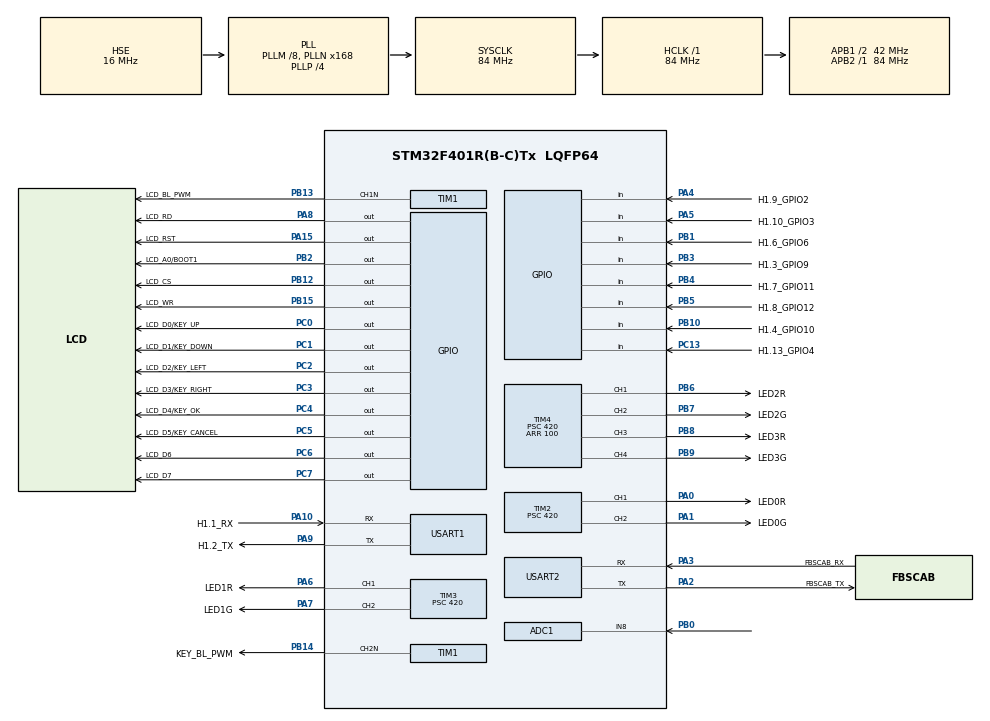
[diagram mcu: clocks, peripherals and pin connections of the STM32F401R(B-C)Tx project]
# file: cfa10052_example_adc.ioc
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ADC1.Channel-0\#ChannelRegularConversion=ADC_CHANNEL_8
ADC1.ContinuousConvMode=ENABLE
ADC1.NbrOfConversionFlag=1
ADC1.Rank-0\#ChannelRegularConversion=1
ADC1.SamplingTime-0\#ChannelRegularConversion=ADC_SAMPLETIME_3CYCLES
ADC1.master=1
Mcu.Family=STM32F4
Mcu.Name=STM32F401R(B-C)Tx
Mcu.Package=LQFP64
NVIC.ADC_IRQn=true\:0\:0\:false\:false\:true\:true\:true
NVIC.PriorityGroup=NVIC_PRIORITYGROUP_4
NVIC.USART1_IRQn=true\:0\:0\:false\:false\:true\:true\:true
PA0-WKUP.GPIO_Label=LED0R
PA0-WKUP.GPIO_Speed=GPIO_SPEED_FREQ_VERY_HIGH
PA0-WKUP.Signal=S_TIM2_CH1_ETR
PA1.GPIO_Label=LED0G
PA1.GPIO_Speed=GPIO_SPEED_FREQ_VERY_HIGH
PA1.Signal=S_TIM2_CH2
PA10.GPIO_Label=H1.1_RX
PA10.Mode=Asynchronous
PA10.Signal=USART1_RX
PA11.GPIO_Label=USB_DM
PA11.Signal=USB_OTG_FS_DM
PA12.GPIO_Label=USB_DP
PA12.Signal=USB_OTG_FS_DP
PA13.GPIO_Label=H1.11_SWDIO_GPIO0
PA13.Mode=Serial_Wire
PA13.Signal=SYS_JTMS-SWDIO
PA14.GPIO_Label=H1.12_SWCLK_GPIO1
PA14.Mode=Serial_Wire
PA14.Signal=SYS_JTCK-SWCLK
PA15.GPIO_Label=LCD_RST
PA15.GPIO_Speed=GPIO_SPEED_FREQ_VERY_HIGH
PA15.Signal=GPIO_Output
PA2.GPIO_Label=FBSCAB_TX
PA2.Mode=Asynchronous
PA2.Signal=USART2_TX
PA3.GPIO_Label=FBSCAB_RX
PA3.Mode=Asynchronous
PA3.Signal=USART2_RX
PA4.GPIO_Label=H1.9_GPIO2
PA4.Signal=GPIO_Input
PA5.GPIO_Label=H1.10_GPIO3
PA5.Signal=GPIO_Input
PA6.GPIO_Label=LED1R
PA6.GPIO_Speed=GPIO_SPEED_FREQ_VERY_HIGH
PA6.Signal=S_TIM3_CH1
PA7.GPIO_Label=LED1G
PA7.GPIO_Speed=GPIO_SPEED_FREQ_VERY_HIGH
PA7.Signal=S_TIM3_CH2
PA8.GPIO_Label=LCD_RD
PA8.GPIO_Speed=GPIO_SPEED_FREQ_VERY_HIGH
PA8.Signal=GPIO_Output
PA9.GPIO_Label=H1.2_TX
PA9.Mode=Asynchronous
PA9.Signal=USART1_TX
PB0.Signal=ADCx_IN8
PB1.GPIO_Label=H1.6_GPIO6
PB1.Signal=GPIO_Input
PB10.GPIO_Label=H1.4_GPIO10
PB10.Signal=GPIO_Input
PB12.GPIO_Label=LCD_CS
PB12.GPIO_Speed=GPIO_SPEED_FREQ_VERY_HIGH
PB12.Signal=GPIO_Output
PB13.GPIO_Label=LCD_BL_PWM
PB13.GPIO_Speed=GPIO_SPEED_FREQ_VERY_HIGH
PB13.Mode=PWM Generation1 CH1N
PB13.Signal=TIM1_CH1N
PB14.GPIO_Label=KEY_BL_PWM
PB14.GPIO_Speed=GPIO_SPEED_FREQ_VERY_HIGH
PB14.Mode=PWM Generation2 CH2N
PB14.Signal=TIM1_CH2N
PB15.GPIO_Label=LCD_WR
PB15.GPIO_Speed=GPIO_SPEED_FREQ_VERY_HIGH
PB15.Signal=GPIO_Output
PB2.GPIO_Label=LCD_A0/BOOT1
PB2.GPIO_Speed=GPIO_SPEED_FREQ_VERY_HIGH
PB2.Signal=GPIO_Output
PB3.GPIO_Label=H1.3_GPIO9
PB3.Signal=GPIO_Input
PB4.GPIO_Label=H1.7_GPIO11
PB4.Signal=GPIO_Input
PB5.GPIO_Label=H1.8_GPIO12
PB5.Signal=GPIO_Input
PB6.GPIO_Label=LED2R
PB6.GPIO_Speed=GPIO_SPEED_FREQ_VERY_HIGH
PB6.Signal=S_TIM4_CH1
PB7.GPIO_Label=LED2G
PB7.GPIO_Speed=GPIO_SPEED_FREQ_VERY_HIGH
PB7.Signal=S_TIM4_CH2
PB8.GPIO_Label=LED3R
PB8.GPIO_Speed=GPIO_SPEED_FREQ_VERY_HIGH
PB8.Signal=S_TIM4_CH3
PB9.GPIO_Label=LED3G
PB9.GPIO_Speed=GPIO_SPEED_FREQ_VERY_HIGH
PB9.Signal=S_TIM4_CH4
PC0.GPIO_Label=LCD_D0/KEY_UP
PC0.GPIO_Speed=GPIO_SPEED_FREQ_VERY_HIGH
PC0.Signal=GPIO_Output
PC1.GPIO_Label=LCD_D1/KEY_DOWN
PC1.GPIO_Speed=GPIO_SPEED_FREQ_VERY_HIGH
PC1.Signal=GPIO_Output
PC10.GPIO_Label=MICROSD_D2
PC10.Signal=SDIO_D2
PC11.GPIO_Label=MICROSD_D3
PC11.Signal=SDIO_D3
PC12.GPIO_Label=MICROSD_CK
PC12.Signal=SDIO_CK
PC13-ANTI_TAMP.GPIO_Label=H1.13_GPIO4
PC13-ANTI_TAMP.Signal=GPIO_Input
PC2.GPIO_Label=LCD_D2/KEY_LEFT
PC2.GPIO_Speed=GPIO_SPEED_FREQ_VERY_HIGH
PC2.Signal=GPIO_Output
PC3.GPIO_Label=LCD_D3/KEY_RIGHT
PC3.GPIO_Speed=GPIO_SPEED_FREQ_VERY_HIGH
PC3.Signal=GPIO_Output
PC4.GPIO_Label=LCD_D4/KEY_OK
PC4.GPIO_Speed=GPIO_SPEED_FREQ_VERY_HIGH
PC4.Signal=GPIO_Output
PC5.GPIO_Label=LCD_D5/KEY_CANCEL
PC5.GPIO_Speed=GPIO_SPEED_FREQ_VERY_HIGH
PC5.Signal=GPIO_Output
PC6.GPIO_Label=LCD_D6
PC6.GPIO_Speed=GPIO_SPEED_FREQ_VERY_HIGH
PC6.Signal=GPIO_Output
PC7.GPIO_Label=LCD_D7
PC7.GPIO_Speed=GPIO_SPEED_FREQ_VERY_HIGH
PC7.Signal=GPIO_Output
PC8.GPIO_Label=MICROSD_D0
PC8.Signal=SDIO_D0
PC9.GPIO_Label=MICROSD_D1
PC9.Signal=SDIO_D1
PD2.GPIO_Label=MICROSD_CMD
PD2.Signal=SDIO_CMD
PH0\ -\ OSC_IN.GPIO_Label=OSC_IN
PH0\ -\ OSC_IN.Mode=HSE-External-Oscillator
PH0\ -\ OSC_IN.Signal=RCC_OSC_IN
PH1\ -\ OSC_OUT.GPIO_Label=OSC_OUT
PH1\ -\ OSC_OUT.Mode=HSE-External-Oscillator
PH1\ -\ OSC_OUT.Signal=RCC_OSC_OUT
ProjectManager.HeapSize=0x200
ProjectManager.StackSize=0x400
ProjectManager.TargetToolchain=STM32CubeIDE
RCC.48MHZClocksFreq_Value=48000000
RCC.AHBFreq_Value=84000000
RCC.APB1CLKDivider=RCC_HCLK_DIV2
RCC.APB1Freq_Value=42000000
RCC.APB1TimFreq_Value=84000000
RCC.APB2Freq_Value=84000000
RCC.APB2TimFreq_Value=84000000
RCC.CortexFreq_Value=84000000
RCC.HCLKFreq_Value=84000000
RCC.HSE_VALUE=16000000
RCC.HSI_VALUE=16000000
RCC.LSE_VALUE=32768
RCC.PLLM=8
RCC.PLLN=168
RCC.PLLP=RCC_PLLP_DIV4
RCC.PLLQ=7
RCC.PLLSourceVirtual=RCC_PLLSOURCE_HSE
RCC.SYSCLKFreq_VALUE=84000000
RCC.SYSCLKSource=RCC_SYSCLKSOURCE_PLLCLK
RCC.VCOOutputFreq_Value=336000000
SH.ADCx_IN8.0=ADC1_IN8,IN8
SH.S_TIM2_CH1_ETR.0=TIM2_CH1,PWM Generation1 CH1
SH.S_TIM2_CH2.0=TIM2_CH2,PWM Generation2 CH2
SH.S_TIM3_CH1.0=TIM3_CH1,PWM Generation1 CH1
SH.S_TIM3_CH2.0=TIM3_CH2,PWM Generation2 CH2
SH.S_TIM4_CH1.0=TIM4_CH1,PWM Generation1 CH1
SH.S_TIM4_CH2.0=TIM4_CH2,PWM Generation2 CH2
SH.S_TIM4_CH3.0=TIM4_CH3,PWM Generation3 CH3
SH.S_TIM4_CH4.0=TIM4_CH4,PWM Generation4 CH4
TIM1.Channel-PWM\ Generation1\ CH1N=TIM_CHANNEL_1
TIM1.Channel-PWM\ Generation2\ CH2N=TIM_CHANNEL_2
TIM1.CounterMode=TIM_COUNTERMODE_DOWN
TIM1.Period=100
TIM1.Prescaler=9
TIM2.Channel-PWM\ Generation1\ CH1=TIM_CHANNEL_1
TIM2.Channel-PWM\ Generation2\ CH2=TIM_CHANNEL_2
TIM2.Period=100
TIM2.Prescaler=420
TIM3.Channel-PWM\ Generation1\ CH1=TIM_CHANNEL_1
TIM3.Channel-PWM\ Generation2\ CH2=TIM_CHANNEL_2
TIM3.Period=100
TIM3.Prescaler=420
TIM4.Channel-PWM\ Generation1\ CH1=TIM_CHANNEL_1
TIM4.Channel-PWM\ Generation2\ CH2=TIM_CHANNEL_2
TIM4.Channel-PWM\ Generation3\ CH3=TIM_CHANNEL_3
TIM4.Channel-PWM\ Generation4\ CH4=TIM_CHANNEL_4
TIM4.Period=100
TIM4.Prescaler=420
USART1.VirtualMode=VM_ASYNC
USART2.VirtualMode=VM_ASYNC
VP_TIM1_VS_ClockSourceINT.Mode=Internal
VP_TIM2_VS_ClockSourceINT.Mode=Internal
VP_TIM3_VS_ClockSourceINT.Mode=Internal
VP_TIM4_VS_ClockSourceINT.Mode=Internal
board=custom

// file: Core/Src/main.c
/* USER CODE BEGIN Header */
/**
 ******************************************************************************
 * @file           : main.c
 * @brief          : Main program body
 ******************************************************************************
 *
 * Crystalfontz CFA10052 (hardware v1.1 onwards) example/base firmware.
 *
 * This example displays a moving histogram graph of voltages acquired from
 * one of the two available ADC inputs on the CFA10052.
 *
 * The ADC input is Header 1 - Pin 5.
 * Due to the resistive divider on the CFA10052 ADC input pin, maximum input
 * voltage is 6.6V.
 *
 * The ADC is sampled at 21Khz, and averaged out over the length of one sample
 * period (one horizontal pixel on the LCD).
 *
 * Up/Down keys change the length of the sample period.
 * Left/Right keys move the voltage measurement cursor.
 * The X key starts/stops sampling & graph scrolling.
 *
 * For more information about this CFA10052 example custom firmware package,
 * please see the README.md file.
 *
 ******************************************************************************
 *
 * Crystalfontz supplied source-code is provided using The Unlicense.
 * A license with no conditions whatsoever which dedicates works to the public
 * domain. Unlicensed works, modifications, and larger works may be distributed
 * under different terms and without source code.
 * See the UNLICENCE file, or https://unlicense.org/ for details.
 *
 * STM32Cube created source-code and STMicroelectronics libraries are Copyright(c)
 * 2019 STMicroelectronics. All rights reserved.
 * This software component is licensed by ST under BSD 3-Clause license,
 * the "License"; You may not use this file except in compliance with the
 * License.
 * You may obtain a copy of the License at: opensource.org/licenses/BSD-3-Clause
 *
 ******************************************************************************
 */
/* USER CODE END Header */
#include "main.h"
#include "adc.h"
#include "tim.h"
#include "usart.h"
#include "gpio.h"

/* USER CODE BEGIN Includes */
#include "keypad.h"
#include "leds.h"
#include "lcd_core.h"
#include "tprintf.h"
#include "math.h"
/* USER CODE END Includes */

/* USER CODE BEGIN PD */

//LCD Controller/Panel type must be set here!
// CFA10052 hardware version v1.0 to v1.5 = LCDCORE_ST7529
// CFA10052 hardware version v1.6 to v1.9 = LCDCORE_UC1611S
// CFA10052 hardware version v1.9+ = LCDCORE_UC1611S_INV
//#define LCD_TYPE		LCDCORE_ST7529
//#define LCD_TYPE		LCDCORE_UC1611S
//#define LCD_TYPE		LCDCORE_UC1611S_INV

#ifndef LCD_TYPE
# error LCD_TYPE NOT SET!!!
#endif

/* USER CODE END PD */

/* USER CODE BEGIN PM */
#define SAMPLE_TIME			(250) /*mS*/
#define SAMPLE_TIME_MIN		(10)
#define SAMPLE_TIME_MAX		(60000)
#define SAMPLE_RECORDS		(LCD_WIDTH)
#define KEY_REPEAT_TIMER	(100) /*mS*/
/* USER CODE END PM */

/* USER CODE BEGIN PV */
uint8_t LCD_FrameBuffer[LCD_WIDTH * LCD_HEIGHT];
volatile uint64_t ADCDataSum = 0;
volatile uint32_t ADCDataCount = 0;
/* USER CODE END PV */

void SystemClock_Config(void);

/* USER CODE BEGIN 0 */
void User_USART1_IRQHandler(void)
{
	//incoming data on USART1 (CFA10052 H1, pins 1 & 2)
	//called by USART1_IRQHandler() in stm32f4xx_it.c
	//echo data back to USART1
	if (LL_USART_IsActiveFlag_RXNE(USART1))
	{
		uint8_t Data = LL_USART_ReceiveData8(USART1);
		LL_USART_TransmitData8(USART1, Data);
		LL_USART_ClearFlag_RXNE(USART1);
	}
}

void HAL_ADC_ConvCpltCallback(ADC_HandleTypeDef *hadc)
{
	//ADC conversion complete callback (from ADC_IRQHandler() in stm32f4xx_it.c)
	//Runs at PCLK2/8/480 = 84000000/8/480 = 21875 KHz
	//ADC values are summed to create an average in the main loop
	ADCDataSum += HAL_ADC_GetValue(&hadc1);
	ADCDataCount++;
}
/* USER CODE END 0 */

int main(void)
{

	/* MCU Configuration--------------------------------------------------------*/

	/* Reset of all peripherals, Initializes the Flash interface and the Systick. */
	HAL_Init();

	/* Configure the system clock */
	SystemClock_Config();

	/* Initialize all configured peripherals */
	MX_GPIO_Init();
	MX_TIM1_Init();
	MX_TIM2_Init();
	MX_TIM3_Init();
	MX_TIM4_Init();
	MX_USART1_UART_Init();
	MX_USART2_UART_Init();
	MX_ADC1_Init();
	/* USER CODE BEGIN 2 */

	//CFA10052 specific init's
	HAL_ResumeTick();
	HAL_Delay(1);

	LEDs_Init();
	Keypad_Init();
	LCDCore_Init(LCD_TYPE);
	LEDs_LCDBacklightSet(50);
	LEDs_KeypadBacklightSet(50);

	//Start the ADC
	HAL_NVIC_EnableIRQ(ADC_IRQn);
	HAL_ADC_Start(&hadc1);
	HAL_ADC_Start_IT(&hadc1);

	/* USER CODE END 2 */

	/* Infinite loop */
	/* USER CODE BEGIN WHILE */

	//averaged ADC sample storage
	//let's make use of that hardware float processor
	double ADCSamples[SAMPLE_RECORDS];
	uint32_t ADCSamplePos;

	//local vars
	uint32_t i, j;
	char TempS[40];
	uint32_t SampleLength, SampleLengthPrev;
	uint32_t SampleTimer, KeyTimer;
	uint32_t XCursorPos;
	double XCursorValue;
	uint8_t DoLCDUpdate;

	//init local vars
	for (i = 0; i < SAMPLE_RECORDS; i++)
		ADCSamples[i] = -1.0f;
	ADCSamplePos = 0;
	DoLCDUpdate = 1;
	SampleLength = SAMPLE_TIME;
	XCursorPos = LCD_WIDTH / 2;
	XCursorValue = -1.0f;

	//init timers
	TIMER_SET_NEXT(SampleTimer, SampleLength)
	TIMER_SET_NEXT(KeyTimer, KEY_REPEAT_TIMER)

	//main loop
	while (1)
	{
		//keypad check
		Keypad_CheckButtons();

		//handle button presses / holds
		if (Keypad_ButtonState[KEY_RIGHT] & BUTTON_RELEASED)
		{
			//right key pressed, move cursor right
			XCursorPos += (XCursorPos >= LCD_WIDTH - 1) ? 0 : 1;
			DoLCDUpdate = 1;
		}
		if (Keypad_ButtonState[KEY_LEFT] & BUTTON_RELEASED)
		{
			//left key pressed, move cursor left
			XCursorPos -= (XCursorPos == 0) ? 0 : 1;
			DoLCDUpdate = 1;
		}
		if (Keypad_ButtonState[KEY_UP] & BUTTON_RELEASED)
		{
			//up key pressed, increase sample period
			SampleLength += (SampleLength > SAMPLE_TIME_MAX - 10) ? 0 : 10;
			DoLCDUpdate = 1;
		}
		if (Keypad_ButtonState[KEY_DOWN] & BUTTON_RELEASED)
		{
			//down key pressed, decrease sample period
			SampleLength -= (SampleLength < SAMPLE_TIME_MIN + 10) ? 0 : 10;
			DoLCDUpdate = 1;
		}
		if (Keypad_ButtonState[KEY_CANCEL] & BUTTON_RELEASED)
		{
			//X key pressed, toggle pause
			if (SampleLength == 0)
				SampleLength = SampleLengthPrev;
			else
			{
				SampleLengthPrev = SampleLength;
				SampleLength = 0;
			}
			DoLCDUpdate = 1;
		}

		//key hold repeat timer
		IF_TIMER_EXPIRED(KeyTimer)
		{
			//reset timer
			TIMER_SET_NEXT(KeyTimer, KEY_REPEAT_TIMER)

			//handle key holds
			if (Keypad_ButtonState[KEY_RIGHT] & BUTTON_HELD)
			{
				//right key held, move cursor right
				XCursorPos += (XCursorPos >= LCD_WIDTH - 1) ? 0 : 1;
				DoLCDUpdate = 1;
			}
			if (Keypad_ButtonState[KEY_LEFT] & BUTTON_HELD)
			{
				//left key held, move cursor left
				XCursorPos -= (XCursorPos == 0) ? 0 : 1;
				DoLCDUpdate = 1;
			}
			if (Keypad_ButtonState[KEY_UP] & BUTTON_HELD)
			{
				//up key held, increase sample period
				SampleLength += (SampleLength > SAMPLE_TIME_MAX - 10) ? 0 : 10;
				DoLCDUpdate = 1;
			}
			if (Keypad_ButtonState[KEY_DOWN] & BUTTON_HELD)
			{
				//down key held, decrease sample period
				SampleLength -= (SampleLength < SAMPLE_TIME_MIN + 10) ? 0 : 10;
				DoLCDUpdate = 1;
			}
		}

		//take averaged ADC value if not paused, and sample timer expired
		if (SampleLength != 0)
		{
			IF_TIMER_EXPIRED(SampleTimer)
			{
				//set next sample timer expiry
				TIMER_SET_NEXT(SampleTimer, SampleLength)

				//stop ADC interrupts
				HAL_NVIC_DisableIRQ(ADC_IRQn);
				//calculate ADC average value over period
				double ADCAvg = ADCDataSum / (double) ADCDataCount;
				//reset ADC sum vars
				ADCDataCount = 0;
				ADCDataSum = 0;
				//re-enable ADC interrupts
				HAL_NVIC_EnableIRQ(ADC_IRQn);
				//store the averaged ADC value
				ADCSamples[ADCSamplePos % SAMPLE_RECORDS] = ADCAvg;
				ADCSamplePos++;
				//do lcd update
				DoLCDUpdate = 1;
			}
		}

		//do LCD update if needed
		if (DoLCDUpdate == 1)
		{
			//LCD update needed

			//blank the lcd frame buffer
			memset(LCD_FrameBuffer, 0x00, LCD_WIDTH * LCD_HEIGHT);

			//display moving graph
			//LCD is 68 pixels high, ADC has max value of 4096 (=3.3V*2 in)
			for (i = 0; i < LCD_WIDTH; i++)
			{
				//draw right to left
				uint32_t XPos = (LCD_WIDTH - 1 - i);
				//get ADC value
				double val = -1.0f;
				if (i < ADCSamplePos - 1)
					val = ADCSamples[(ADCSamplePos - 1 - i) % SAMPLE_RECORDS];
				//check if we are a X cursor point, if so keep the value
				if (XPos == XCursorPos)
					XCursorValue = val;
				//if ADC value is valid, draw it
				if (val > -0.0f)
				{
					//calc Y pixel position
					uint8_t YPos = round((val / 4096.0f) * LCD_HEIGHT);
					//flip it the right way up
					YPos = (LCD_HEIGHT - 1) - YPos;
					//check limits
					if (YPos > LCD_HEIGHT - 1)
						YPos = LCD_HEIGHT - 1;
					//draw faded bar to the point
					for (j = YPos; j < LCD_HEIGHT; j++)
						LCD_FrameBuffer[XPos + (j * LCD_WIDTH)] = 0x70;
					//draw solid point, right to left
					LCD_FrameBuffer[XPos + (YPos * LCD_WIDTH)] = 0xff;
				}
			}

			//draw x cursor (dotted vertical line)
			for (i = 0; i < LCD_HEIGHT; i++)
				LCD_FrameBuffer[XCursorPos + (i * LCD_WIDTH)] = (i % 2 ? 0xff : 0x00);

			//draw x cursor value text if valid in volts on ADC pin
			if (XCursorValue > -0.0f)
			{
				//ADC-Volts = (ADCValue / MaxADCCount) * ADCMaxV * ResistorDivisor
				double Volts = (XCursorValue / 4096.0f) * 3.3f * 2.0f;
				tsprintf(TempS, "CVal:%fV", Volts);
			}
			else
				tsprintf(TempS, "CVal:N/A");
			Font_WriteString(LCD_FrameBuffer, 2, LCD_HEIGHT - 30, TempS);

			//x cursor position text
			double XCursorPosS = (LCD_WIDTH - 1 - XCursorPos) * SampleLength / 1000.0f;
			tsprintf(TempS, "CPos:%fS", XCursorPosS);
			Font_WriteString(LCD_FrameBuffer, 2, LCD_HEIGHT - 20, TempS);

			//sample time text
			if (SampleLength == 0)
				//paused
				tsprintf(TempS, "STime:PAUSE");
			else
				tsprintf(TempS, "STime:%fS", (double) SampleLength / 1000.0f);
			Font_WriteString(LCD_FrameBuffer, 2, LCD_HEIGHT - 10, TempS);

			//send framebuffer to the LCD controller
			LCDCore_BufferToLCD(LCD_FrameBuffer);

			//done
			DoLCDUpdate = 0;
		}

		/* USER CODE END WHILE */

	}
}

void SystemClock_Config(void)
{
	RCC_OscInitTypeDef RCC_OscInitStruct =
	{ 0 };
	RCC_ClkInitTypeDef RCC_ClkInitStruct =
	{ 0 };

	/** Configure the main internal regulator output voltage
	 */
	__HAL_RCC_PWR_CLK_ENABLE();
	__HAL_PWR_VOLTAGESCALING_CONFIG(PWR_REGULATOR_VOLTAGE_SCALE2);
	/** Initializes the RCC Oscillators according to the specified parameters
	 * in the RCC_OscInitTypeDef structure.
	 */
	RCC_OscInitStruct.OscillatorType = RCC_OSCILLATORTYPE_HSE;
	RCC_OscInitStruct.HSEState = RCC_HSE_ON;
	RCC_OscInitStruct.PLL.PLLState = RCC_PLL_ON;
	RCC_OscInitStruct.PLL.PLLSource = RCC_PLLSOURCE_HSE;
	RCC_OscInitStruct.PLL.PLLM = 8;
	RCC_OscInitStruct.PLL.PLLN = 168;
	RCC_OscInitStruct.PLL.PLLP = RCC_PLLP_DIV4;
	RCC_OscInitStruct.PLL.PLLQ = 7;
	if (HAL_RCC_OscConfig(&RCC_OscInitStruct) != HAL_OK)
	{
		Error_Handler();
	}
	/** Initializes the CPU, AHB and APB buses clocks
	 */
	RCC_ClkInitStruct.ClockType = RCC_CLOCKTYPE_HCLK | RCC_CLOCKTYPE_SYSCLK | RCC_CLOCKTYPE_PCLK1 | RCC_CLOCKTYPE_PCLK2;
	RCC_ClkInitStruct.SYSCLKSource = RCC_SYSCLKSOURCE_PLLCLK;
	RCC_ClkInitStruct.AHBCLKDivider = RCC_SYSCLK_DIV1;
	RCC_ClkInitStruct.APB1CLKDivider = RCC_HCLK_DIV2;
	RCC_ClkInitStruct.APB2CLKDivider = RCC_HCLK_DIV1;

	if (HAL_RCC_ClockConfig(&RCC_ClkInitStruct, FLASH_LATENCY_2) != HAL_OK)
	{
		Error_Handler();
	}
}

void Error_Handler(void)
{
}

/************************ (C) COPYRIGHT STMicroelectronics *****END OF FILE****/
